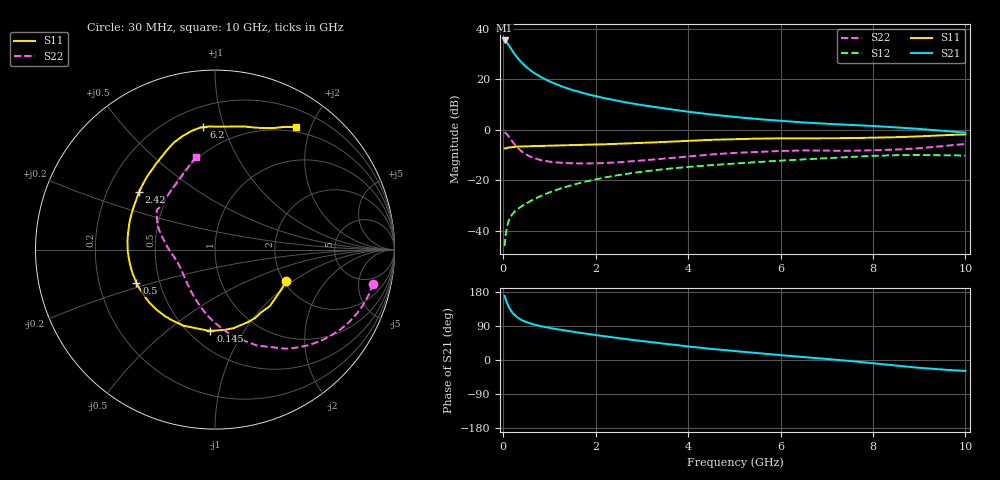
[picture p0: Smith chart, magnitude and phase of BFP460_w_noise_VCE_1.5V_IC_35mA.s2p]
! (c) 2016  Infineon Technologies AG, Munich
! Infineon Technologies  Discrete & RF Semiconductors
! BFP460
! VCE =  1.5 V,  IC =  35 mA
! Common Emitter S-Parameters:  Jan 2016
# GHz  S  MA  R  50
!  f  S11  S21  S12  S22
! GHz  MAG  ANG  MAG  ANG  MAG  ANG  MAG  ANG
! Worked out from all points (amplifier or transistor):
!   229 points, 30 MHz to 10 GHz, reference 50 ohm
!   highest |S21| = 35.5 dB at 30 MHz (marker M1)
!   |S21| within 3 dB of that: start of sweep to 158.6 MHz
!   unconditionally stable (mu >= 1): 1.289 GHz to 7.943 GHz
!   at 280 MHz: K = 0.57, MSG = 30.5 dB, |S12| = -31.8 dB
!   at 1.78 GHz: K = 1.03, MAG = 16.4 dB, |S12| = -20.4 dB
!   at 10 GHz: K = 0.99, MSG = 4.5 dB, |S12| = -10.1 dB
!   lowest NFmin = 1.56 dB at 450 MHz
!   S11 on the Smith chart (normalised r, x): 30 MHz: 2.04, -0.89; 145 MHz: 0.63, -0.72; 500 MHz: 0.37, -0.18; 2.42 GHz: 0.34, +0.30; 6.2 GHz: 0.33, +0.85; 10 GHz: 0.43, +1.77
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0.03  0.4324 -24.2  59.27 169.2  0.005 83.1  0.9014 -12.2
0.05  0.432 -39.5  57.27 161.1  0.0079 78.5  0.8801 -20.8
0.07  0.4339 -53.6  55.14 154.3  0.0106 73.4  0.8468 -28.9
0.085  0.4421 -62.9  52.98 149.8  0.0125 70.6  0.8161 -34.4
0.12  0.4501 -82.0  47.62 140.1  0.016 65.4  0.7407 -46.2
0.145  0.4517 -93.3  43.9 134.4  0.018 62.3  0.6867 -53.3
0.2  0.459 -112.5  36.72 124.5  0.0217 58.5  0.5839 -66.3
0.26  0.4638 -126.8  30.7 117.0  0.0248 56.7  0.4987 -77.0
0.3  0.4674 -134.3  27.45 112.8  0.0267 56.3  0.4539 -83.3
0.4  0.4707 -147.8  21.58 105.3  0.031 56.8  0.3755 -95.4
0.5  0.4749 -157.1  17.68 100.1  0.0353 57.9  0.326 -104.7
0.7  0.4806 -169.8  12.91 92.5  0.0441 59.8  0.2712 -118.9
0.9  0.4859 -178.5  10.16 87.0  0.0533 60.9  0.2444 -129.1
1.2  0.4919 171.4  7.69 80.4  0.0674 61.1  0.226 -140.2
1.7  0.5041 158.4  5.474 71.0  0.0912 59.1  0.2178 -152.9
2.42  0.5305 143.0  3.867 58.9  0.1244 53.8  0.2271 -167.3
3.4  0.575 125.9  2.739 44.3  0.1645 45.0  0.2667 176.7
5.1  0.6619 104.7  1.777 22.6  0.2193 31.4  0.3552 155.0
6.2  0.6851 95.4  1.473 10.9  0.2527 22.9  0.3873 147.0
6.8  0.6853 90.3  1.358 4.8  0.2698 18.6  0.3903 144.2
8.4  0.7157 71.8  1.141 -13.5  0.3156 3.9  0.4064 128.6
10  0.8178 56.7  0.885 -28.9  0.3113 -8.8  0.5286 101.4
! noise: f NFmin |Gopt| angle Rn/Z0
0.45  1.56  0.23  -168  0.12
0.9  1.59  0.2  -163  0.13
1.9  1.71  0.31  -143  0.14
3.5  1.58  0.54  -119  0.2
